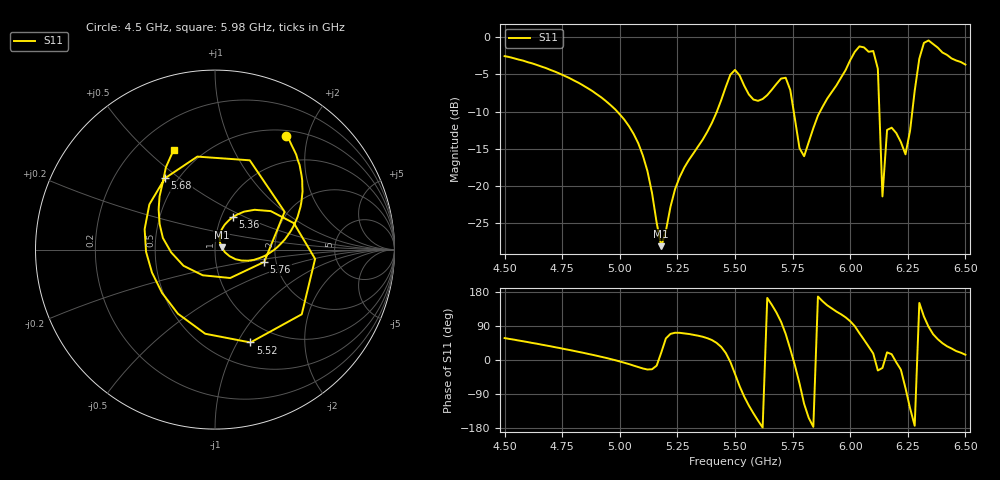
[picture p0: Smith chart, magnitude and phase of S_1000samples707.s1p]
! TOUCHSTONE file generated by CST MICROWAVE STUDIO
! Date and time: Sat Oct 29 02:39:22 2022
! Project name: L.cst
! Parameters = {Di=1.27; Epsilon_r=1.56; InnerDiameter=1.27; Length=2; Lf=10; Lg=60; OuterConductorThickness=0.2921; OuterDiameter=3.6; Wf=3; Wp=41.2; de=1.5; df=6.8; g=0.8; gx=0.671653; gy=1.69968; h=2.34; hf=1.524; px=10.1393; py=14.733; w=9.7; wx=9.46763; wy=13.0333}
! Header version: 2018
! Port assignment regex: !\s*Touchstone port\s*([0-9]+)\s*=\s*(CST MWS port|CST DS port)\s*([0-9]+|Zmin|Zmax)\s*\(\"(.*)\"\)(\s*mode\s*([0-9]+))?.*
! Touchstone port assignment:
! Touchstone port 1 = CST MWS port 1 ("")
# GHz S DB R 50
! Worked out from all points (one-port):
!   101 points, 4.5 GHz to 6.5 GHz, reference 50 ohm
!   lowest |S11| = -28.1 dB at 5.18 GHz (marker M1), VSWR 1.08, Z = 53.8 + j1.44 ohm
!   |S11| at or under -10 dB: 4.989 GHz to 5.421 GHz (432.2 MHz wide, 8.3 % of centre); 5.755 GHz to 5.869 GHz (114.1 MHz wide, 1.96 % of centre); 6.127 GHz to 6.269 GHz (142.8 MHz wide, 2.3 % of centre)
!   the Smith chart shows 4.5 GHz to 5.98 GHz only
!   S11 on the Smith chart (normalised r, x): 4.5 GHz: 0.58, +1.66; 5.36 GHz: 1.13, +0.43; 5.52 GHz: 0.76, -1.14; 5.68 GHz: 0.43, +0.44; 5.76 GHz: 1.73, -0.26; 5.98 GHz: 0.35, +0.61
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4.5  -2.55 57.9
4.76  -5.19 28.9
5  -10.37 -3.8
5.1  -15.89 -22.4
5.18  -28.08 19.8
5.26  -18.79 71.7
5.36  -13.76 61.3
5.46  -6.68 18.5
5.5  -4.39 -36.7
5.52  -5.13 -69.1
5.58  -8.38 -140.7
5.68  -6.28 125.1
5.72  -5.45 68.7
5.76  -10.97 -14.0
5.8  -15.99 -115.6
5.84  -12.22 -176.4
5.98  -4.43 112.6
6  -3.09 102.4
6.04  -1.24 70.8
6.1  -1.86 17.1
6.12  -4.24 -27.7
6.14  -21.39 -20.9
6.16  -12.47 20.2
6.26  -12.54 -127.6
6.3  -2.88 150.6
6.34  -0.44 87.9
6.38  -1.40 54.9
6.5  -3.68 13.9
